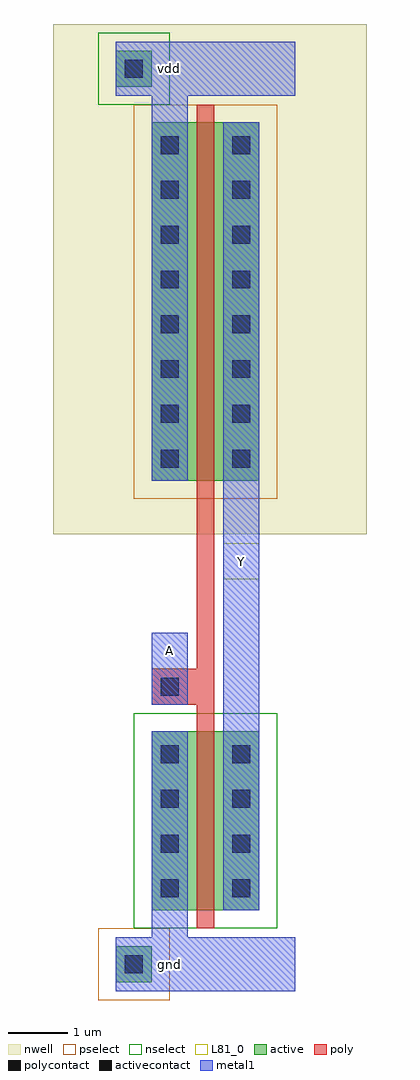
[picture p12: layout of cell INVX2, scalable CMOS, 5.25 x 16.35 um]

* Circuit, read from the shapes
.subckt INVX2 A Y gnd vdd
M1 Y A gnd gnd nfet w=3u l=0.3u
M2 Y A vdd vdd pfet w=6u l=0.3u
.ends

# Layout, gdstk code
import gdstk
lib = gdstk.Library(unit=1e-6, precision=1e-09)
def R(c, l, rs):  # rectangles x0, y0, x1, y1
    for r in rs: c.add(gdstk.rectangle(r[:2], r[2:], *l))
def A(c, l, x, y, w, h, nx, ny, dx, dy):  # array of equal rectangles
    R(c, l, [(x+i*dx, y+j*dy, x+i*dx+w, y+j*dy+h) for i in range(nx) for j in range(ny)])
nwell = (42, 0)
active = (43, 0)
pselect = (44, 0)
nselect = (45, 0)
poly = (46, 0)
polycontact = (47, 0)
activecontact = (48, 0)
metal1 = (49, 0)
L81_0 = (81, 0)

invx2 = lib.new_cell('INVX2')
R(invx2, nwell, [(-1.35,7.2,3.9,15.75)])
R(invx2, active, [(-0.3,-0.3,0.3,0.3), (0.3,0.9,2.1,3.9), (0.3,8.1,2.1,14.1), (-0.3,14.7,0.3,15.3)])
R(invx2, pselect, [(-0.6,-0.6,0.6,0.6), (0,7.8,2.4,14.4)])
R(invx2, nselect, [(0,0.6,2.4,4.2), (-0.6,14.4,0.6,15.6)])
R(invx2, poly, [(1.05,0.6,1.35,4.35), (0.3,4.35,1.35,4.95), (1.05,4.95,1.35,14.4)])
R(invx2, polycontact, [(0.45,4.5,0.75,4.8)])
A(invx2, activecontact, 0.45, 1.12, 0.3, 0.3, 1, 4, 0, 0.75)
A(invx2, activecontact, 1.65, 1.12, 0.3, 0.3, 1, 4, 0, 0.75)
A(invx2, activecontact, 0.45, 8.32, 0.3, 0.3, 1, 8, 0, 0.75)
A(invx2, activecontact, 1.65, 8.32, 0.3, 0.3, 1, 8, 0, 0.75)
R(invx2, activecontact, [(-0.15,-0.15,0.15,0.15), (-0.15,14.85,0.15,15.15)])
R(invx2, metal1, [(-0.3,-0.45,2.7,0.45), (0.3,0.45,0.9,3.9), (1.5,0.9,2.1,14.1), (0.3,4.35,0.9,5.55), (0.3,8.1,0.9,14.55), (-0.3,14.55,2.7,15.45)])
R(invx2, L81_0, [(0.3,4.95,0.9,5.55), (1.5,6.45,2.1,7.05)])
invx2.add(gdstk.Label('vdd', (0.6,15), layer=109, texttype=0))
invx2.add(gdstk.Label('gnd', (0.6,0), layer=109, texttype=0))
invx2.add(gdstk.Label('Y', (1.8,6.75), layer=109, texttype=0))
invx2.add(gdstk.Label('A', (0.6,5.25), layer=109, texttype=0))

lib.write_gds('INVX2.gds')
